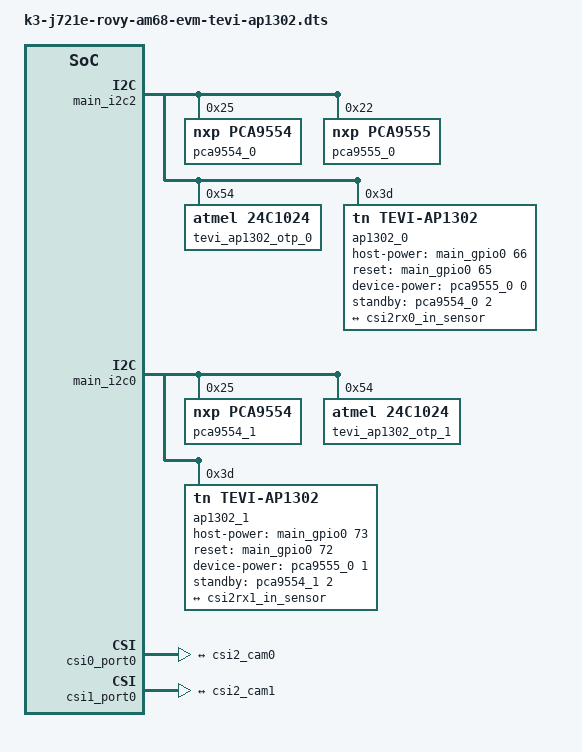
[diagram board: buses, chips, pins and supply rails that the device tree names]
// SPDX-License-Identifier: GPL-2.0
/**
 * DT Overlay for Technexion AR series camera interfaced with CSI2 on J721E-EAIK board.
 *
 * Copyright (C) 2022 Technexion Ltd.
 */

/dts-v1/;
/plugin/;

#include <dt-bindings/gpio/gpio.h>
#include <dt-bindings/interrupt-controller/irq.h>
#include <dt-bindings/pinctrl/k3.h>

&main_pmx0 {

	main_rovy_cam0_pins_default: main-rovy-cam0-pins-default {
		pinctrl-single,pins = <
			J721E_IOPAD(0x108, PIN_OUTPUT, 7) /* (AD27) PRG0_PRU1_GPO2.GPIO0_65 */
			J721E_IOPAD(0x10c, PIN_OUTPUT, 7) /* (AC25) PRG0_PRU1_GPO3.GPIO0_66 */
		>;
	};
	main_rovy_cam1_pins_default: main-rovy-cam1-pins-default {
		pinctrl-single,pins = <
			J721E_IOPAD(0x124, PIN_OUTPUT, 7) /* (Y24) PRG0_PRU1_GPO9.GPIO0_72 */
			J721E_IOPAD(0x128, PIN_OUTPUT, 7) /* (AA25) PRG0_PRU1_GPO10.GPIO0_73 */
		>;
	};
};

&main_i2c2 {
	#address-cells = <1>;
	#size-cells = <0>;

	pca9554_0: pca9554_0@25 {
		compatible = "nxp,pca9554";
		reg = <0x25>;
		gpio-controller;
		#gpio-cells = <2>;
		status = "okay";
	};
	pca9555_0: pca9555_0@22 {
		compatible = "nxp,pca9555";
		reg = <0x22>;
		gpio-controller;
		#gpio-cells = <2>;
		status = "okay";
	};

	tevi_ap1302_otp_0: tevi_ap1302_otp_0@54 {
		compatible = "atmel,24c1024";
		reg = <0x54>;
		pagesize = <128>;
		status = "okay";
	};

	ap1302_0: ap1302_0@3d {
		compatible = "tn,tevi-ap1302";
		reg = <0x3d>;

		pinctrl-names = "default";
		pinctrl-0 = <&main_rovy_cam0_pins_default>;

		host-power-gpios = <&main_gpio0 66 GPIO_ACTIVE_HIGH>;	//CSI0_PWDN_GPIO0_66
		reset-gpios = <&main_gpio0 65 GPIO_ACTIVE_HIGH>;	//CSI0_RST_N_GPIO0_65
		// device-power-gpios = <&pca9554_0 0 GPIO_ACTIVE_HIGH>;
		device-power-gpios = <&pca9555_0 0 GPIO_ACTIVE_HIGH>;
		standby-gpios = <&pca9554_0 2 GPIO_ACTIVE_HIGH>;

		nvmem = <&tevi_ap1302_otp_0>;
		nvmem-names = "calib-data";
		// pixel-rate = <61430400>; /* 61.43MHz */
		pixel-rate = <61440000>; /* 61.43MHz */
		data-lanes = <2>;
		continuous-clock = <0>;
		status = "okay";

		#address-cells = <1>;
		#size-cells = <0>;

		port {
			csi2_cam0: endpoint {
				remote-endpoint = <&csi2rx0_in_sensor>;
				clock-lanes = <0>;
				data-lanes = <1 2 3 4>;
			};
		};
	};
};

&main_i2c0 {
	#address-cells = <1>;
	#size-cells = <0>;

	pca9554_1: pca9554_1@25 {
		compatible = "nxp,pca9554";
		reg = <0x25>;
		gpio-controller;
		#gpio-cells = <2>;
		status = "okay";
	};

	tevi_ap1302_otp_1: tevi_ap1302_otp_1@54 {
		compatible = "atmel,24c1024";
		reg = <0x54>;
		pagesize = <128>;
		status = "okay";
	};

	ap1302_1: ap1302_1@3d {
		compatible = "tn,tevi-ap1302";
		reg = <0x3d>;

		pinctrl-names = "default";
		pinctrl-0 = <&main_rovy_cam1_pins_default>;

		host-power-gpios = <&main_gpio0 73 GPIO_ACTIVE_HIGH>;	//CSI0_PWDN_GPIO0_66
		reset-gpios = <&main_gpio0 72 GPIO_ACTIVE_HIGH>;	//CSI0_RST_N_GPIO0_65
		device-power-gpios = <&pca9555_0 1 GPIO_ACTIVE_HIGH>;
		standby-gpios = <&pca9554_1 2 GPIO_ACTIVE_HIGH>;

		nvmem = <&tevi_ap1302_otp_1>;
		nvmem-names = "calib-data";
		pixel-rate = <61440000>; /* 61.43MHz */
		data-lanes = <2>;
		continuous-clock = <0>;
		status = "okay";

		#address-cells = <1>;
		#size-cells = <0>;

		port {
			csi2_cam1: endpoint {
				remote-endpoint = <&csi2rx1_in_sensor>;
				clock-lanes = <0>;
				data-lanes = <1 2 3 4>;
			};
		};
	};
};

&csi0_port0 {
	status = "okay";
	csi2rx0_in_sensor: endpoint {
		remote-endpoint = <&csi2_cam0>;
		bus-type = <4>; /* CSI2 DPHY. */
		clock-lanes = <0>;
		data-lanes = <1 2 3 4>;
	};
};

&csi1_port0 {
	status = "okay";
	csi2rx1_in_sensor: endpoint {
		remote-endpoint = <&csi2_cam1>;
		bus-type = <4>; /* CSI2 DPHY. */
		clock-lanes = <0>;
		data-lanes = <1 2 3 4>;
	};
};
